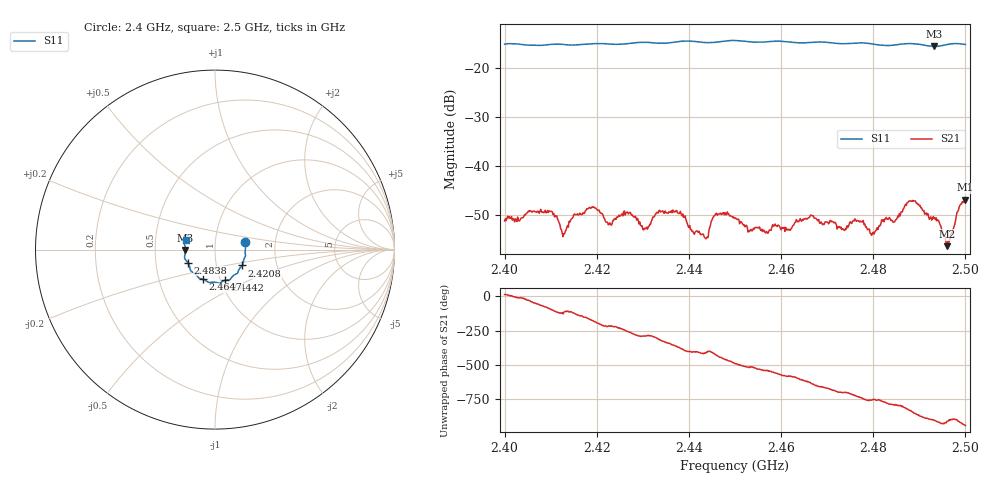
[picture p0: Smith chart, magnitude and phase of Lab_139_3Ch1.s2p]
# Hz S RI R 50
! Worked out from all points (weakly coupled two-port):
!   601 points, 2.4 GHz to 2.5 GHz, reference 50 ohm
!   highest |S21| = -46.84 dB at 2.5 GHz (marker M1); lowest = -56.3 dB at 2.496 GHz (marker M2)
!   lowest |S11| = -15.7 dB at 2.4932 GHz (marker M3), VSWR 1.39, Z = 35.8 - j0.122 ohm
!   |S11| at or under -10 dB: start of sweep to end of sweep
!   S12 and S22 are empty: the file has one direction only
!   S11 on the Smith chart (normalised r, x): 2.4 GHz: 1.40, +0.12; 2.4208 GHz: 1.33, -0.24; 2.4442 GHz: 1.05, -0.37; 2.4647 GHz: 0.83, -0.28; 2.4838 GHz: 0.73, -0.11; 2.5 GHz: 0.71, +0.08
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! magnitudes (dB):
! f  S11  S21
! 2.4 GHz  -15.2  -51.2
! 2.4098 GHz  -15.3  -49.3
! 2.4128 GHz  -15.3  -53.8
! 2.4167 GHz  -15.3  -49.9
! 2.4208 GHz  -15.1  -49.6
! 2.4228 GHz  -15.2  -51.6
! 2.4268 GHz  -15.1  -49.8
! 2.4305 GHz  -14.8  -52.8
! 2.4333 GHz  -15.0  -49.6
! 2.4442 GHz  -14.9  -54.6
! 2.4458 GHz  -14.8  -49.7
! 2.45 GHz  -14.5  -50.5
! 2.4568 GHz  -14.7  -53.3
! 2.4647 GHz  -14.9  -50.9
! 2.4667 GHz  -14.8  -50.1
! 2.4798 GHz  -15.2  -53.6
! 2.4833 GHz  -15.5  -50.8
! 2.4838 GHz  -15.5  -51.1
! 2.4883 GHz  -15.1  -47.2
! 2.4932 GHz  -15.7  -50.7
! 2.496 GHz  -15.3  -56.3
! 2.5 GHz  -15.3  -46.8
